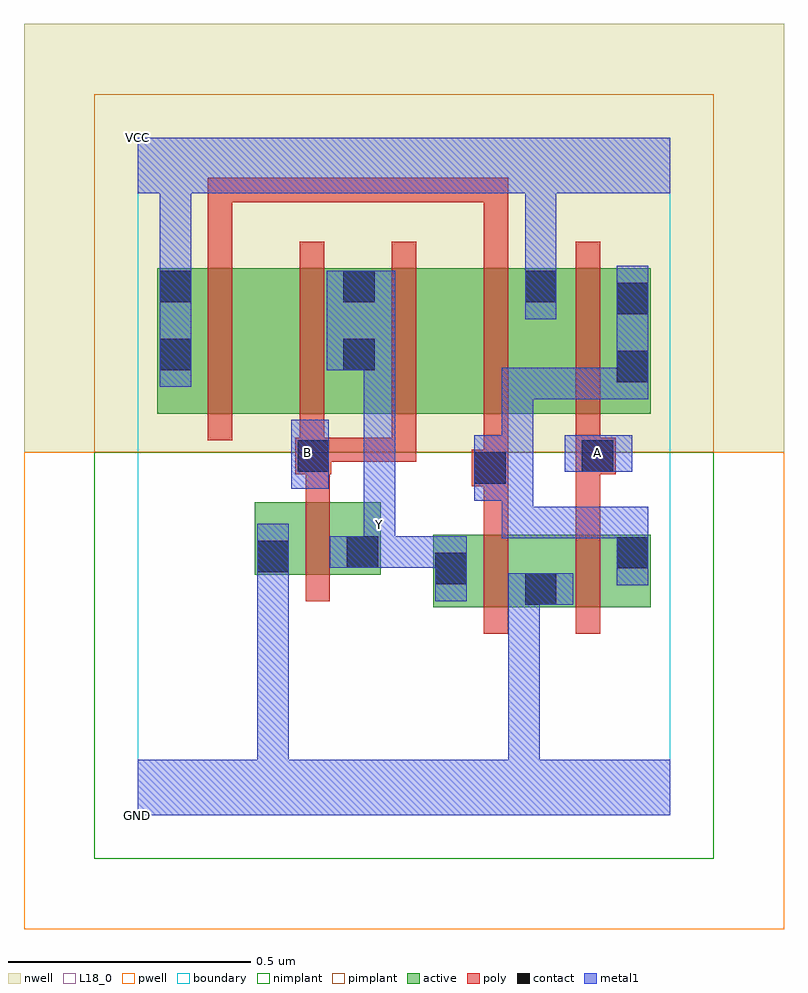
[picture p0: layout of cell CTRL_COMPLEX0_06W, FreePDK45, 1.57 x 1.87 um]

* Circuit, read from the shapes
.subckt CTRL_COMPLEX0_06W A B GND VCC Y
M1 Y B GND VSUBS nfet w=0.15u l=0.05u
M2 GND n1 Y VSUBS nfet w=0.15u l=0.05u
M3 n1 A GND VSUBS nfet w=0.15u l=0.05u
M4 n2 n1 VCC n3 pfet w=0.3u l=0.05u
M5 Y B n2 n3 pfet w=0.3u l=0.05u
M6 n4 B Y n3 pfet w=0.3u l=0.05u
M7 VCC n1 n4 n3 pfet w=0.3u l=0.05u
M8 n1 A VCC n3 pfet w=0.3u l=0.05u
.ends

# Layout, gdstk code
import gdstk
lib = gdstk.Library(unit=1e-6, precision=1e-09)
def R(c, l, rs):  # rectangles x0, y0, x1, y1
    for r in rs: c.add(gdstk.rectangle(r[:2], r[2:], *l))
def A(c, l, x, y, w, h, nx, ny, dx, dy):  # array of equal rectangles
    R(c, l, [(x+i*dx, y+j*dy, x+i*dx+w, y+j*dy+h) for i in range(nx) for j in range(ny)])
active = (1, 0)
pwell = (2, 0)
nwell = (3, 0)
nimplant = (4, 0)
pimplant = (5, 0)
poly = (9, 0)
contact = (10, 0)
metal1 = (11, 0)
L18_0 = (18, 0)
boundary = (235, 0)

ctrl_complex0_06w = lib.new_cell('CTRL_COMPLEX0_06W')
R(ctrl_complex0_06w, active, [(0.61,0.43,0.685,0.58), (0.61,0.43,0.87,0.58), (0.795,0.43,1.06,0.58), (0.795,0.43,0.87,0.505), (0.985,0.43,1.06,0.58), (0.242,0.497,0.317,0.647), (0.242,0.497,0.502,0.647), (0.427,0.507,0.502,0.647), (0.04,0.83,0.115,1.13), (0.04,0.83,0.265,1.13), (0.265,0.83,0.495,1.13), (0.42,0.83,0.495,1.13), (0.42,0.83,0.645,1.13), (0.645,0.83,0.87,1.13), (0.795,0.83,1.06,1.13), (0.795,0.83,0.87,1.13), (0.985,0.83,1.06,1.105)])
R(ctrl_complex0_06w, pwell, [(-0.235,-0.235,1.335,0.75)])
R(ctrl_complex0_06w, nwell, [(-0.235,0.75,1.335,1.635)])
R(ctrl_complex0_06w, nimplant, [(-0.09,-0.09,1.19,0.75)])
R(ctrl_complex0_06w, pimplant, [(-0.09,0.75,1.19,1.49)])
A(ctrl_complex0_06w, poly, 0.145, 0.775, 0.05, 0.41, 5, 1, 0.19, 0)
R(ctrl_complex0_06w, poly, [(0.715,0.375,0.765,0.635), (0.905,0.375,0.955,0.635), (0.347,0.442,0.397,0.702), (0.715,0.585,0.765,0.73), (0.905,0.585,0.955,0.755), (0.347,0.652,0.397,0.755), (0.69,0.68,0.765,0.755), (0.325,0.705,0.4,0.78), (0.715,0.705,0.765,0.825), (0.905,0.705,0.987,0.78), (0.335,0.73,0.385,0.825), (0.35,0.73,0.575,0.78), (0.525,0.73,0.575,0.825), (0.525,0.73,0.575,0.78), (0.525,0.73,0.575,0.78), (0.525,0.73,0.575,0.78), (0.905,0.73,0.955,0.825), (0.145,1.135,0.195,1.317), (0.715,1.135,0.765,1.317), (0.145,1.267,0.195,1.317), (0.145,1.267,0.195,1.317), (0.145,1.267,0.195,1.317), (0.145,1.267,0.442,1.317), (0.392,1.267,0.442,1.317), (0.392,1.267,0.442,1.317), (0.392,1.267,0.442,1.317), (0.392,1.267,0.607,1.317), (0.557,1.267,0.607,1.317), (0.557,1.267,0.765,1.317), (0.715,1.267,0.765,1.317), (0.715,1.267,0.765,1.317), (0.715,1.267,0.765,1.317)])
R(ctrl_complex0_06w, contact, [(0.8,0.435,0.865,0.5), (0.615,0.477,0.68,0.542), (0.247,0.502,0.312,0.567), (0.99,0.51,1.055,0.575), (0.432,0.512,0.497,0.577), (0.695,0.685,0.76,0.75), (0.33,0.71,0.395,0.775), (0.917,0.71,0.982,0.775), (0.99,0.895,1.055,0.96), (0.045,0.92,0.11,0.985), (0.425,0.92,0.49,0.985), (0.99,1.035,1.055,1.1), (0.045,1.06,0.11,1.125), (0.425,1.06,0.49,1.125), (0.8,1.06,0.865,1.125)])
R(ctrl_complex0_06w, metal1, [(0,0,1.1,0.115), (0.247,0.05,0.312,0.115), (0.247,0.05,0.312,0.115), (0.247,0.05,0.312,0.115), (0.247,0.05,0.312,0.115), (0.247,0.05,0.312,0.115), (0.247,0.05,0.312,0.115), (0.247,0.05,0.312,0.532), (0.765,0.05,0.83,0.115), (0.765,0.05,0.83,0.115), (0.765,0.05,0.83,0.115), (0.765,0.05,0.83,0.115), (0.765,0.05,0.83,0.115), (0.765,0.05,0.83,0.115), (0.765,0.05,0.83,0.5), (0.765,0.435,0.9,0.5), (0.615,0.442,0.68,0.577), (0.247,0.467,0.312,0.602), (0.99,0.475,1.055,0.637), (0.397,0.512,0.532,0.577), (0.467,0.512,0.532,0.577), (0.467,0.512,0.532,0.577), (0.467,0.512,0.532,0.577), (0.467,0.512,0.68,0.577), (0.467,0.512,0.532,0.667), (0.752,0.572,0.817,0.637), (0.752,0.572,1.055,0.637), (0.752,0.572,0.817,0.715), (0.99,0.572,1.055,0.637), (0.99,0.572,1.055,0.637), (0.467,0.602,0.532,0.985), (0.695,0.65,0.76,0.785), (0.695,0.65,0.817,0.715), (0.752,0.65,0.817,0.715), (0.752,0.65,0.817,0.925), (0.317,0.675,0.395,0.817), (0.882,0.71,1.022,0.785), (0.752,0.86,0.817,0.925), (0.752,0.86,1.055,0.925), (0.99,0.86,1.055,0.925), (0.99,0.86,1.055,0.925), (0.99,0.86,1.055,1.135), (0.045,0.885,0.11,1.16), (0.39,0.92,0.532,1.125), (0.8,1.025,0.865,1.16), (0.045,1.095,0.11,1.35), (0.8,1.095,0.865,1.35), (0,1.285,1.1,1.4), (0.045,1.285,0.11,1.35), (0.045,1.285,0.11,1.35), (0.8,1.285,0.865,1.35), (0.8,1.285,0.865,1.35)])
R(ctrl_complex0_06w, L18_0, [(0,0,1.1,0.115), (0.247,0.05,0.312,0.115), (0.247,0.05,0.312,0.115), (0.247,0.05,0.312,0.115), (0.247,0.05,0.312,0.115), (0.247,0.05,0.312,0.115), (0.247,0.05,0.312,0.115), (0.247,0.05,0.312,0.532), (0.765,0.05,0.83,0.115), (0.765,0.05,0.83,0.115), (0.765,0.05,0.83,0.115), (0.765,0.05,0.83,0.115), (0.765,0.05,0.83,0.115), (0.765,0.05,0.83,0.115), (0.765,0.05,0.83,0.5), (0.765,0.435,0.9,0.5), (0.615,0.442,0.68,0.577), (0.247,0.467,0.312,0.602), (0.397,0.512,0.532,0.577), (0.467,0.512,0.532,0.577), (0.467,0.512,0.532,0.577), (0.467,0.512,0.532,0.577), (0.467,0.512,0.532,0.667), (0.467,0.512,0.68,0.577), (0.467,0.567,0.532,0.632), (0.467,0.602,0.532,0.985), (0.317,0.675,0.395,0.817), (0.882,0.71,1.022,0.785), (0.317,0.717,0.382,0.782), (0.917,0.717,0.982,0.782), (0.045,0.885,0.11,1.16), (0.39,0.92,0.532,1.125), (0.8,1.025,0.865,1.16), (0.045,1.095,0.11,1.35), (0.8,1.095,0.865,1.35), (0,1.285,1.1,1.4), (0.045,1.285,0.11,1.35), (0.045,1.285,0.11,1.35), (0.8,1.285,0.865,1.35), (0.8,1.285,0.865,1.35)])
R(ctrl_complex0_06w, boundary, [(0,0,1.1,1.4)])
ctrl_complex0_06w.add(gdstk.Label('A', (0.95,0.75), layer=11, texttype=0))
ctrl_complex0_06w.add(gdstk.Label('B', (0.35,0.75), layer=11, texttype=0))
ctrl_complex0_06w.add(gdstk.Label('Y', (0.5,0.6), layer=11, texttype=0))
ctrl_complex0_06w.add(gdstk.Label('VCC', (0,1.4), layer=11, texttype=0))
ctrl_complex0_06w.add(gdstk.Label('GND', (0,0), layer=11, texttype=0))

lib.write_gds('CTRL_COMPLEX0_06W.gds')
